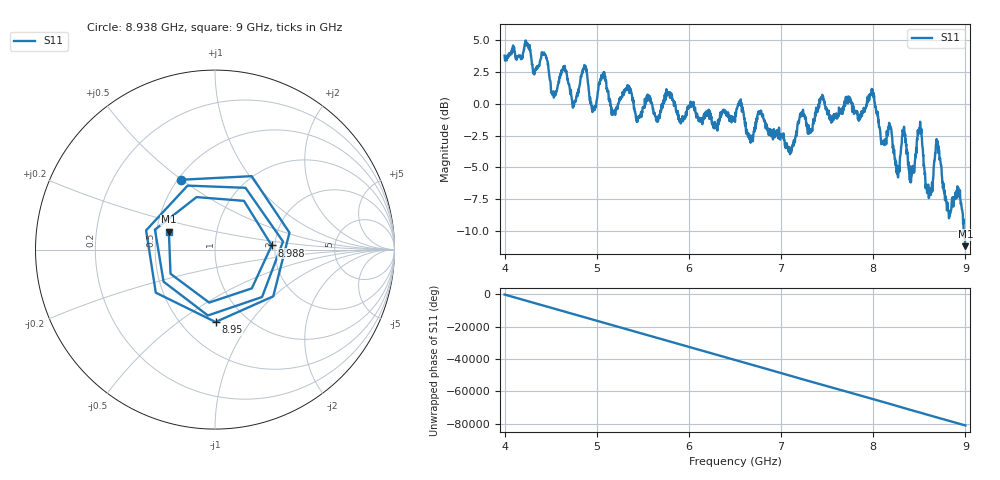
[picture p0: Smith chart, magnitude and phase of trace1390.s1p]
! Created with skrf 1.8.0 (http://scikit-rf.org).
# Hz S RI R 50.0
!freq ReS11 ImS11
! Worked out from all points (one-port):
!   1601 points, 4 GHz to 9 GHz, reference 50 ohm
!   lowest |S11| = -11.2 dB at 9 GHz (marker M1), VSWR 1.76, Z = 29.1 + j6.25 ohm
!   |S11| at or under -10 dB: 8.980539 GHz to 8.98608 GHz (5.541 MHz wide, 0.0617 % of centre); 8.988049 GHz to end of sweep
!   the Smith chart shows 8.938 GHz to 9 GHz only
!   S11 on the Smith chart (normalised r, x): 8.938 GHz: 0.52, +0.50; 8.95 GHz: 0.72, -0.70; 8.988 GHz: 1.92, +0.10; 9 GHz: 0.58, +0.12
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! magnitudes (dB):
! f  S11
! 4 GHz  3.8
! 4.428 GHz  4.0
! 4.531 GHz  0.8
! 4.625 GHz  2.6
! 4.75 GHz  -0.2
! 4.866 GHz  3.0
! 4.959 GHz  -0.4
! 5.066 GHz  2.3
! 5.175 GHz  -0.7
! 5.25 GHz  0.4
! 5.875 GHz  -0.9
! 6.5 GHz  -1.4
! 7.125 GHz  -3.3
! 7.441 GHz  0.5
! 7.75 GHz  0.2
! 7.984 GHz  1.2
! 8.259 GHz  -4.9
! 8.328 GHz  -2.5
! 8.375 GHz  -4.4
! 8.422 GHz  -5.4
! 8.503 GHz  -2.0
! 8.6 GHz  -7.3
! 8.697 GHz  -3.2
! 8.812 GHz  -8.4
! 8.938 GHz  -7.3
! 8.95 GHz  -7.9
! 8.988 GHz  -10.0
! 9 GHz  -11.2
